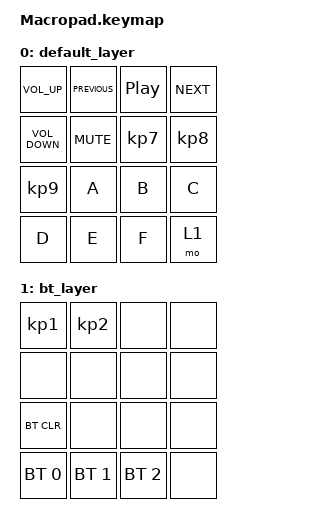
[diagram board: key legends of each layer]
#include <behaviors.dtsi>
#include <dt-bindings/zmk/keys.h>
#include <dt-bindings/zmk/bt.h>

/ {  
    keymap {
        compatible = "zmk,keymap";

        default_layer {
            bindings = <
                &kp C_VOLUME_UP         &kp C_PREVIOUS     &kp C_PLAY_PAUSE     &kp C_NEXT
                &kp C_VOLUME_DOWN       &kp C_MUTE         &kp KP_N7            &kp KP_N8
                &kp KP_N9               &kp A              &kp B                &kp C  
                &kp D                   &kp E              &kp F                &mo 1
            >;
        }; 
        
        bt_layer {
            bindings = <
                &kp KP_N1        &kp KP_N2        &none            &none
                &none            &none            &none            &none
                &bt BT_CLR       &none            &none            &none
                &bt BT_SEL 0     &bt BT_SEL 1     &bt BT_SEL 2     &none
            >;
        };
    };
};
